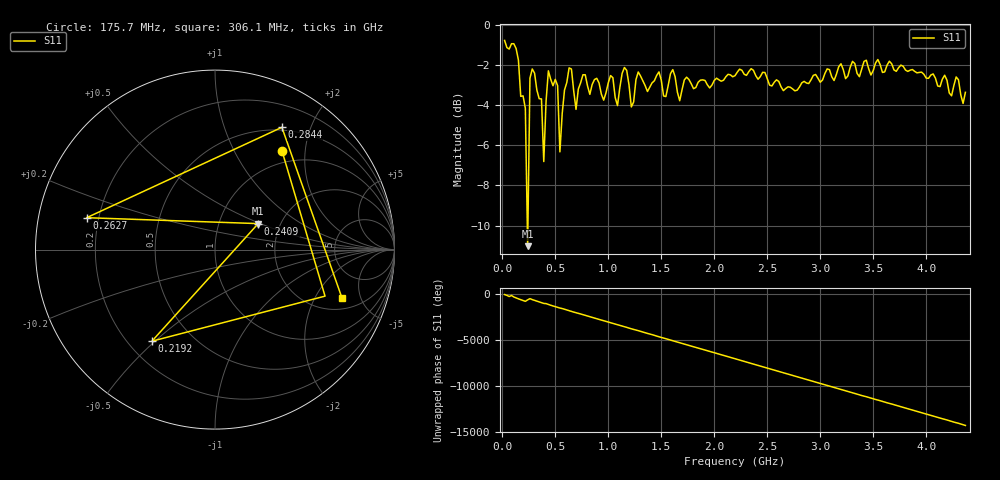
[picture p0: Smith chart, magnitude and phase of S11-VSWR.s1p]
!Keysight Technologies N9952A: A.10.01
!Date: Friday, 04 October 2019 12:17:05
!TimeZone: !Model: N9952A
!Serial: MY57201149
!GPS Latitude:
!GPS Longitude:
!GPS TimeStamp: 0001-01-01 00:00:00Z
!GPS Seconds Since Last Read: 0
!CHECKSUM:1362248355
!Correction: S11(Rdy)
!S1P File: Measurement: S11:
# Hz S DB R 50
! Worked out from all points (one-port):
!   201 points, 23.54 MHz to 4.371 GHz, reference 50 ohm
!   lowest |S11| = -11.0 dB at 240.9 MHz (marker M1), VSWR 1.78, Z = 77.1 + j24.2 ohm
!   |S11| at or under -10 dB: 237.7 MHz to 243.6 MHz (5.911 MHz wide, 2.46 % of centre)
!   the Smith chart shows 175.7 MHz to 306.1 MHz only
!   S11 on the Smith chart (normalised r, x): 175.7 MHz: 0.81, +1.58; 219.2 MHz: 0.29, -0.49; 240.9 MHz: 1.54, +0.48; 262.7 MHz: 0.15, +0.12; 284.4 MHz: 0.46, +1.59; 306.1 MHz: 2.68, -3.42
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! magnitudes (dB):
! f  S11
! 23.54 MHz  -0.8
! 132.2 MHz  -1.2
! 175.7 MHz  -3.6
! 219.2 MHz  -4.2
! 240.9 MHz  -11.0
! 262.7 MHz  -2.7
! 284.4 MHz  -2.2
! 306.1 MHz  -2.4
! 371.3 MHz  -3.7
! 393.1 MHz  -6.8
! 436.5 MHz  -2.3
! 523.5 MHz  -3.0
! 545.2 MHz  -6.3
! 567 MHz  -4.4
! 632.2 MHz  -2.1
! 697.4 MHz  -4.2
! 762.6 MHz  -2.5
! 1.11 GHz  -3.1
! 1.219 GHz  -4.1
! 1.48 GHz  -2.3
! 1.545 GHz  -3.6
! 1.61 GHz  -2.2
! 1.654 GHz  -3.4
! 2.197 GHz  -2.5
! 2.741 GHz  -3.2
! 3.284 GHz  -2.1
! 3.828 GHz  -2.3
! 4.371 GHz  -3.4
